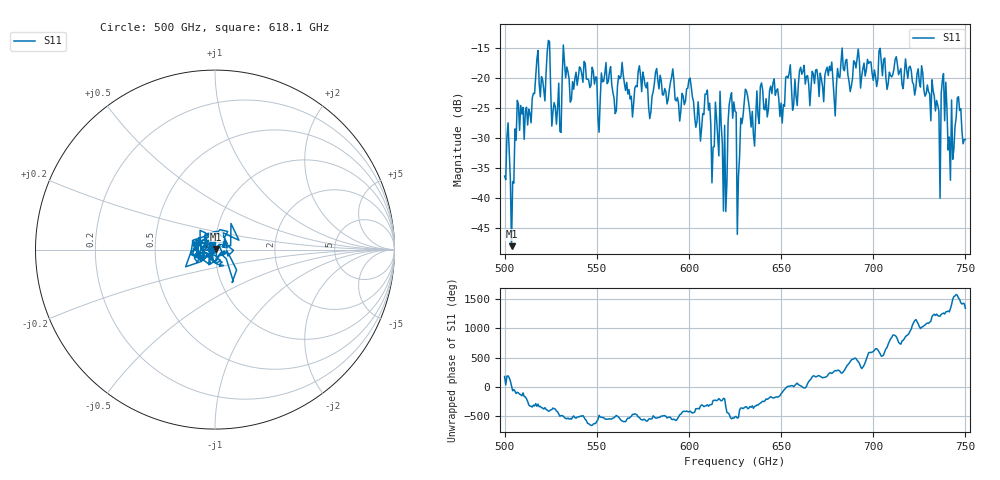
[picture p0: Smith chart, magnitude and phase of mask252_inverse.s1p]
!Created with skrf (http://scikit-rf.org).
# GHz S MA R 50.0
!freq magS11 angS11
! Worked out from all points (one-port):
!   401 points, 500 GHz to 750 GHz, reference 50 ohm
!   lowest |S11| = -48.1 dB at 503.8 GHz (marker M1), VSWR 1.01, Z = 50.4 + j0.107 ohm
!   |S11| at or under -10 dB: start of sweep to end of sweep
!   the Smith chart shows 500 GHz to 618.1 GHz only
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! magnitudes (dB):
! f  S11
! 500 GHz  -36.4
! 501.9 GHz  -27.5
! 503.8 GHz  -48.1
! 506.9 GHz  -23.7
! 513.8 GHz  -25.9
! 516.9 GHz  -19.7
! 523.8 GHz  -13.7
! 526.9 GHz  -24.1
! 531.2 GHz  -19.8
! 562.5 GHz  -20.1
! 593.8 GHz  -23.2
! 610 GHz  -22.0
! 612.5 GHz  -37.5
! 618.1 GHz  -30.9
! 619.4 GHz  -27.9
! 622.5 GHz  -23.3
! 625 GHz  -25.5
! 627.5 GHz  -33.0
! 631.2 GHz  -22.1
! 635 GHz  -29.4
! 656.2 GHz  -25.3
! 687.5 GHz  -22.2
! 718.8 GHz  -20.0
! 735 GHz  -24.5
! 738.1 GHz  -19.2
! 741.9 GHz  -37.1
! 746.2 GHz  -23.1
! 750 GHz  -30.2
